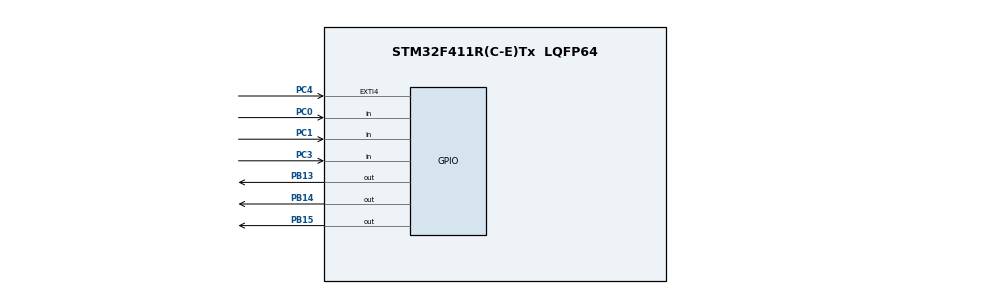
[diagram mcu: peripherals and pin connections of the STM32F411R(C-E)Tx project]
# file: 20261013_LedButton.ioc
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Mcu.Family=STM32F4
Mcu.Name=STM32F411R(C-E)Tx
Mcu.Package=LQFP64
NVIC.PriorityGroup=NVIC_PRIORITYGROUP_4
PB13.Signal=GPIO_Output
PB14.Signal=GPIO_Output
PB15.Signal=GPIO_Output
PC0.Signal=GPIO_Input
PC1.Signal=GPIO_Input
PC3.Signal=GPIO_Input
PC4.Signal=GPXTI4
PH0\ -\ OSC_IN.Mode=HSE-External-Oscillator
PH0\ -\ OSC_IN.Signal=RCC_OSC_IN
PH1\ -\ OSC_OUT.Mode=HSE-External-Oscillator
PH1\ -\ OSC_OUT.Signal=RCC_OSC_OUT
ProjectManager.HeapSize=0x200
ProjectManager.StackSize=0x400
ProjectManager.TargetToolchain=STM32CubeIDE
RCC.48MHZClocksFreq_Value=50000000
RCC.AHBFreq_Value=100000000
RCC.APB1CLKDivider=RCC_HCLK_DIV2
RCC.APB1Freq_Value=50000000
RCC.APB1TimFreq_Value=100000000
RCC.APB2Freq_Value=100000000
RCC.APB2TimFreq_Value=100000000
RCC.CortexFreq_Value=100000000
RCC.HCLKFreq_Value=100000000
RCC.HSE_VALUE=8000000
RCC.HSI_VALUE=16000000
RCC.LSE_VALUE=32768
RCC.PLLM=4
RCC.PLLN=100
RCC.PLLSourceVirtual=RCC_PLLSOURCE_HSE
RCC.SYSCLKFreq_VALUE=100000000
RCC.SYSCLKSource=RCC_SYSCLKSOURCE_PLLCLK
RCC.VCOOutputFreq_Value=200000000
board=custom

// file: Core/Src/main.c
/* USER CODE BEGIN Header */
/**
 ******************************************************************************
 * @file           : main.c
 * @brief          : Main program body
 ******************************************************************************
 * @attention
 *
 * Copyright (c) 2026 STMicroelectronics.
 * All rights reserved.
 *
 * This software is licensed under terms that can be found in the LICENSE file
 * in the root directory of this software component.
 * If no LICENSE file comes with this software, it is provided AS-IS.
 *
 ******************************************************************************
 */
/* USER CODE END Header */

#include "main.h"

/* USER CODE BEGIN PTD */

enum {LED_ON, LED_OFF, LED_TOGGLE};

/* USER CODE END PTD */

/* USER CODE BEGIN PD */

// BUTTON
#define BTN1_GPIO GPIOC
#define BTN1_PIN  GPIO_PIN_0
#define BTN2_GPIO GPIOC
#define BTN2_PIN  GPIO_PIN_1
#define BTN3_GPIO GPIOC
#define BTN3_PIN  GPIO_PIN_3

// LED
#define LED1_GPIO GPIOB
#define LED1_PIN  GPIO_PIN_15
#define LED2_GPIO GPIOB
#define LED2_PIN  GPIO_PIN_14
#define LED3_GPIO GPIOB
#define LED3_PIN  GPIO_PIN_13
#define LED4_GPIO GPIOC
#define LED4_PIN  GPIO_PIN_4

/* USER CODE END PD */

/* USER CODE BEGIN PV */

int state = LED_ON;

/* USER CODE END PV */

void SystemClock_Config(void);
static void MX_GPIO_Init(void);

/* USER CODE BEGIN 0 */

void led_on(GPIO_TypeDef* GPIOx, uint16_t GPIO_Pin)
{
	HAL_GPIO_WritePin(GPIOx, GPIO_Pin, GPIO_PIN_SET);
}

void led_off(GPIO_TypeDef* GPIOx, uint16_t GPIO_Pin)
{
	HAL_GPIO_WritePin(GPIOx, GPIO_Pin, GPIO_PIN_RESET);
}

void led_toggle(GPIO_TypeDef* GPIOx, uint16_t GPIO_Pin)
{
	HAL_GPIO_TogglePin(GPIOx, GPIO_Pin);
}

void led_on_state(void)
{
	if (HAL_GPIO_ReadPin(BTN2_GPIO, BTN2_PIN) == 0) {
		state = LED_OFF;
	}
	else if (HAL_GPIO_ReadPin(BTN3_GPIO, BTN3_PIN) == 0) {
		state = LED_TOGGLE;
	}

	led_on(LED1_GPIO, LED1_PIN);
	led_on(LED2_GPIO, LED2_PIN);
	led_on(LED3_GPIO, LED3_PIN);
	led_on(LED4_GPIO, LED4_PIN);
}

void led_off_state(void)
{
	if (HAL_GPIO_ReadPin(BTN1_GPIO, BTN1_PIN) == 0) {
		state = LED_ON;
	}
	else if (HAL_GPIO_ReadPin(BTN3_GPIO, BTN3_PIN) == 0) {
		state = LED_TOGGLE;
	}

	led_off(LED1_GPIO, LED1_PIN);
	led_off(LED2_GPIO, LED2_PIN);
	led_off(LED3_GPIO, LED3_PIN);
	led_off(LED4_GPIO, LED4_PIN);
}

void led_toggle_state(void)
{
	if (HAL_GPIO_ReadPin(BTN1_GPIO, BTN1_PIN) == 0) {
		state = LED_ON;
	}
	else if (HAL_GPIO_ReadPin(BTN2_GPIO, BTN2_PIN) == 0) {
		state = LED_OFF;
	}

	led_toggle(LED1_GPIO, LED1_PIN);
	led_toggle(LED2_GPIO, LED2_PIN);
	led_toggle(LED3_GPIO, LED3_PIN);
	led_toggle(LED4_GPIO, LED4_PIN);
	HAL_Delay(200);
}

/* USER CODE END 0 */

 int main(void)
{

	 /* MCU Configuration--------------------------------------------------------*/

	 /* Reset of all peripherals, Initializes the Flash interface and the Systick. */
	 HAL_Init();

	 /* Configure the system clock */
	 SystemClock_Config();

	 /* Initialize all configured peripherals */
	 MX_GPIO_Init();

	 /* Infinite loop */
	 /* USER CODE BEGIN WHILE */

	 while (1)
	 {
		 switch(state)
		 {
		 case LED_ON:
			 led_on_state();
			 break;

		 case LED_OFF:
			 led_off_state();
			 break;

		 case LED_TOGGLE:
			 led_toggle_state();
			 break;

		 default:
			 state = LED_ON;
			 led_on_state();
			 break;
		 }
	 }

	 /* USER CODE END WHILE */

}

 /**
  * @brief System Clock Configuration
  * @retval None
  */
 void SystemClock_Config(void)
 {
	 RCC_OscInitTypeDef RCC_OscInitStruct = {0};
	 RCC_ClkInitTypeDef RCC_ClkInitStruct = {0};

	 /** Configure the main internal regulator output voltage
	  */
	 __HAL_RCC_PWR_CLK_ENABLE();
	 __HAL_PWR_VOLTAGESCALING_CONFIG(PWR_REGULATOR_VOLTAGE_SCALE1);

	 /** Initializes the RCC Oscillators according to the specified parameters
	  * in the RCC_OscInitTypeDef structure.
	  */
	 RCC_OscInitStruct.OscillatorType = RCC_OSCILLATORTYPE_HSE;
	 RCC_OscInitStruct.HSEState = RCC_HSE_ON;
	 RCC_OscInitStruct.PLL.PLLState = RCC_PLL_ON;
	 RCC_OscInitStruct.PLL.PLLSource = RCC_PLLSOURCE_HSE;
	 RCC_OscInitStruct.PLL.PLLM = 4;
	 RCC_OscInitStruct.PLL.PLLN = 100;
	 RCC_OscInitStruct.PLL.PLLP = RCC_PLLP_DIV2;
	 RCC_OscInitStruct.PLL.PLLQ = 4;

	 if (HAL_RCC_OscConfig(&RCC_OscInitStruct) != HAL_OK)
	 {
		 Error_Handler();
	 }

	 /** Initializes the CPU, AHB and APB buses clocks
	  */
	 RCC_ClkInitStruct.ClockType = RCC_CLOCKTYPE_HCLK | RCC_CLOCKTYPE_SYSCLK
			 | RCC_CLOCKTYPE_PCLK1 | RCC_CLOCKTYPE_PCLK2;

	 RCC_ClkInitStruct.SYSCLKSource = RCC_SYSCLKSOURCE_PLLCLK;
	 RCC_ClkInitStruct.AHBCLKDivider = RCC_SYSCLK_DIV1;
	 RCC_ClkInitStruct.APB1CLKDivider = RCC_HCLK_DIV2;
	 RCC_ClkInitStruct.APB2CLKDivider = RCC_HCLK_DIV1;

	 if (HAL_RCC_ClockConfig(&RCC_ClkInitStruct, FLASH_LATENCY_3) != HAL_OK)
	 {
		 Error_Handler();
	 }
 }

 /**
  * @brief GPIO Initialization Function
  * @param None
  * @retval None
  */
 static void MX_GPIO_Init(void)
 {
	 GPIO_InitTypeDef GPIO_InitStruct = {0};

	 /* GPIO Ports Clock Enable */
	 __HAL_RCC_GPIOH_CLK_ENABLE();
	 __HAL_RCC_GPIOC_CLK_ENABLE();
	 __HAL_RCC_GPIOB_CLK_ENABLE();

	 /* Configure GPIO pin Output Level */
	 HAL_GPIO_WritePin(GPIOB, GPIO_PIN_13 | GPIO_PIN_14 | GPIO_PIN_15, GPIO_PIN_RESET);
	 HAL_GPIO_WritePin(GPIOC, GPIO_PIN_4, GPIO_PIN_RESET);

	 /* Configure GPIO pins : PC0 PC1 PC3 */
	 GPIO_InitStruct.Pin = GPIO_PIN_0 | GPIO_PIN_1 | GPIO_PIN_3;
	 GPIO_InitStruct.Mode = GPIO_MODE_INPUT;
	 GPIO_InitStruct.Pull = GPIO_NOPULL;
	 HAL_GPIO_Init(GPIOC, &GPIO_InitStruct);

	 /* Configure GPIO pin : PC4 */
	 GPIO_InitStruct.Pin = GPIO_PIN_4;
	 GPIO_InitStruct.Mode = GPIO_MODE_OUTPUT_PP;
	 GPIO_InitStruct.Pull = GPIO_NOPULL;
	 GPIO_InitStruct.Speed = GPIO_SPEED_FREQ_LOW;
	 HAL_GPIO_Init(GPIOC, &GPIO_InitStruct);

	 /* Configure GPIO pins : PB13 PB14 PB15 */
	 GPIO_InitStruct.Pin = GPIO_PIN_13 | GPIO_PIN_14 | GPIO_PIN_15;
	 GPIO_InitStruct.Mode = GPIO_MODE_OUTPUT_PP;
	 GPIO_InitStruct.Pull = GPIO_NOPULL;
	 GPIO_InitStruct.Speed = GPIO_SPEED_FREQ_LOW;
	 HAL_GPIO_Init(GPIOB, &GPIO_InitStruct);

 }

 /**
  * @brief  This function is executed in case of error occurrence.
  * @retval None
  */
 void Error_Handler(void)
 {
	 __disable_irq();
	 while (1)
	 {
	 }
 }
